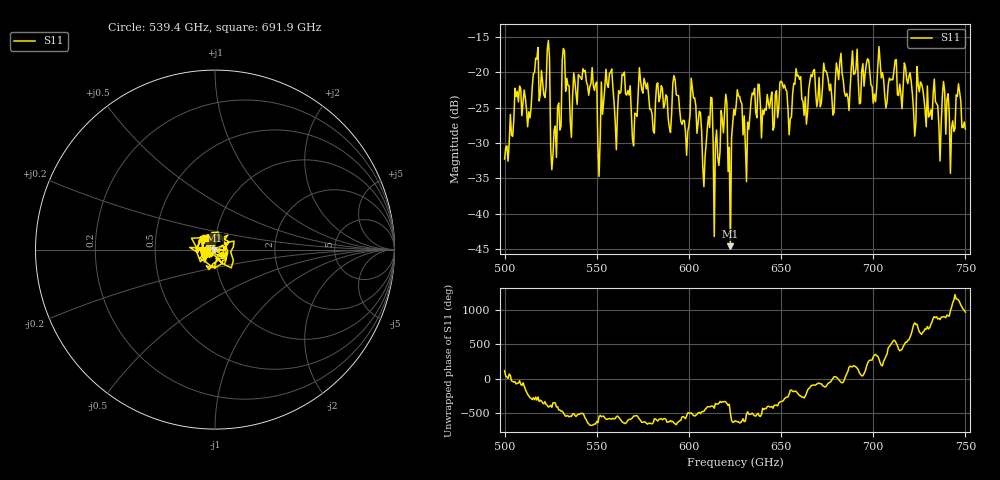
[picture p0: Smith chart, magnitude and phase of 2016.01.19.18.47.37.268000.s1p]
!Created with skrf (http://scikit-rf.org).
# GHz S RI R 50.0
!freq ReS11 ImS11
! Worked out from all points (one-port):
!   401 points, 500 GHz to 750 GHz, reference 50 ohm
!   lowest |S11| = -44.6 dB at 622.5 GHz (marker M1), VSWR 1.01, Z = 49.5 - j0.375 ohm
!   |S11| at or under -10 dB: start of sweep to end of sweep
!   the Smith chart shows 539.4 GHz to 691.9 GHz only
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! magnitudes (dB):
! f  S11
! 500 GHz  -32.3
! 513.1 GHz  -25.6
! 516.9 GHz  -18.0
! 523.1 GHz  -16.9
! 526.9 GHz  -28.2
! 531.2 GHz  -18.3
! 548.8 GHz  -22.6
! 551.9 GHz  -29.2
! 556.2 GHz  -22.1
! 562.5 GHz  -23.0
! 570.6 GHz  -25.8
! 574.4 GHz  -22.4
! 580 GHz  -25.9
! 593.8 GHz  -23.3
! 598.8 GHz  -31.7
! 602.5 GHz  -23.7
! 608.1 GHz  -36.2
! 611.2 GHz  -27.8
! 615 GHz  -28.2
! 619.4 GHz  -25.5
! 622.5 GHz  -44.6
! 625 GHz  -26.1
! 630.6 GHz  -30.3
! 634.4 GHz  -22.9
! 656.2 GHz  -23.1
! 687.5 GHz  -22.1
! 718.8 GHz  -21.6
! 750 GHz  -28.0
